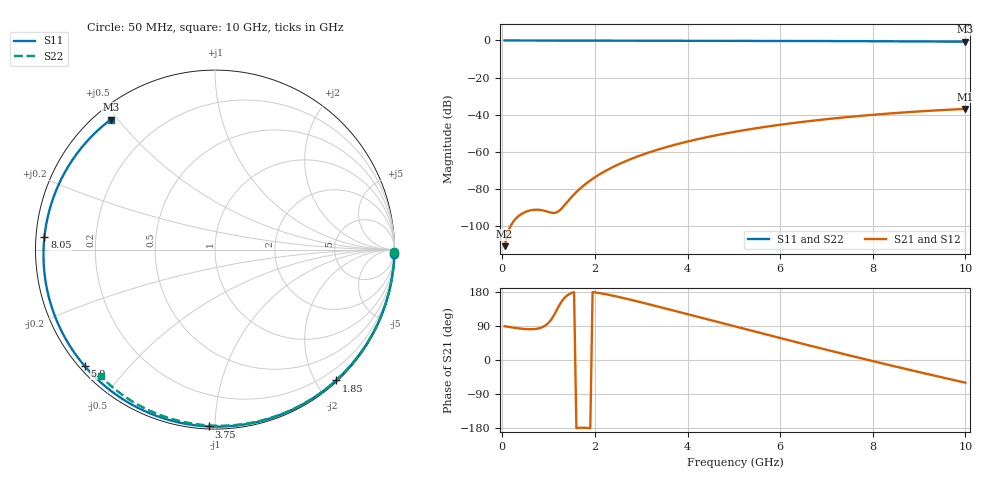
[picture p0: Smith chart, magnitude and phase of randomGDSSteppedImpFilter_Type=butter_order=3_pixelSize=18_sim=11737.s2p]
! freq	dB(S11)	phase(S11)	dB(S12)	phase(S12)
!  dB(S21)	phase(S21)	dB(S22)	phase(S22)
!S-par simulation data
#  GHz  S  DB  R 50
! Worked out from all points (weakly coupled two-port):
!   200 points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, 50 MHz to 10 GHz, reference 50 ohm
!   highest |S21| = -36.84 dB at 10 GHz (marker M1); lowest = -110.8 dB at 50 MHz (marker M2)
!   lowest |S11| = -0.6 dB at 10 GHz (marker M3), VSWR 27.00, Z = 2.28 + j24 ohm
!   |S11| at or under -10 dB: nowhere
!   |S22| runs from -0.4 to 0.0 dB; largest |S21 - S12| = 0
!   S11 on the Smith chart (normalised r, x): 50 MHz: 0, -87; 1.85 GHz: 0.02, -2.29; 3.75 GHz: 0.01, -0.97; 5.9 GHz: 0.02, -0.38; 8.05 GHz: 0.02, +0.04; 10 GHz: 0.05, +0.48
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0.05  -0.00 -1.3  -110.79 89.0  -110.79 89.0  -0.00 -0.8
0.4  -0.01 -10.4  -93.71 82.7  -93.71 82.7  -0.01 -6.1
0.8  -0.03 -20.7  -91.23 83.8  -91.23 83.8  -0.02 -12.1
1.2  -0.04 -31.0  -92.24 137.5  -92.24 137.5  -0.02 -18.1
1.65  -0.05 -42.3  -80.45 -179.1  -80.45 -179.1  -0.03 -24.8
1.75  -0.06 -44.7  -78.27 -178.7  -78.27 -178.7  -0.03 -26.3
1.85  -0.06 -47.2  -76.30 -179.4  -76.30 -179.4  -0.04 -27.8
2.15  -0.07 -54.6  -71.37 175.5  -71.37 175.5  -0.04 -32.2
2.5  -0.08 -63.0  -66.84 166.7  -66.84 166.7  -0.05 -37.3
2.9  -0.09 -72.5  -62.68 155.2  -62.68 155.2  -0.06 -43.0
3.4  -0.11 -84.0  -58.48 139.8  -58.48 139.8  -0.07 -50.1
3.75  -0.12 -91.9  -56.02 128.8  -56.02 128.8  -0.07 -55.0
4.4  -0.15 -106.2  -52.18 108.1  -52.18 108.1  -0.09 -63.9
5.05  -0.18 -120.2  -49.05 87.5  -49.05 87.5  -0.11 -72.5
5.9  -0.23 -138.1  -45.74 60.8  -45.74 60.8  -0.14 -83.5
6.7  -0.29 -154.9  -43.22 36.1  -43.22 36.1  -0.18 -93.5
7.4  -0.35 -169.8  -41.38 14.9  -41.38 14.9  -0.22 -102.0
8.05  -0.42 175.9  -39.94 -4.4  -39.94 -4.4  -0.26 -109.7
8.35  -0.45 169.1  -39.35 -13.2  -39.35 -13.2  -0.29 -113.2
9.15  -0.54 150.3  -37.99 -36.2  -37.99 -36.2  -0.36 -122.4
9.55  -0.59 140.3  -37.41 -47.4  -37.41 -47.4  -0.40 -127.0
10  -0.64 128.7  -36.84 -59.8  -36.84 -59.8  -0.44 -132.1
